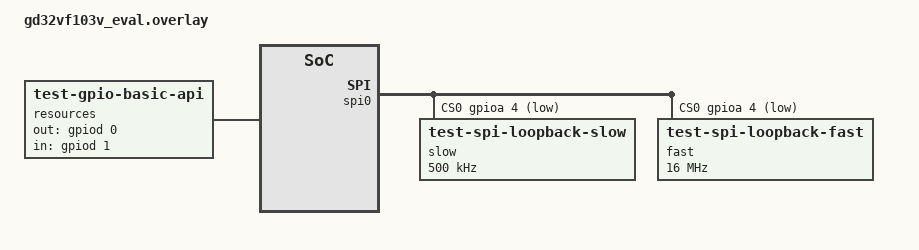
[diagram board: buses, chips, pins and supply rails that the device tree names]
/*
 * Copyright (c) 2022 Tokita, Hiroshi <tokita.hiroshi@gmail.com>
 *
 * SPDX-License-Identifier: Apache-2.0
 */

tst_dma0: &dma0 {
	status = "okay";
};

#include <zephyr/dt-bindings/dma/gd32_dma.h>

&dma0 {
	status = "okay";
};

&pinctrl {
	spi0_default: spi0_default {
		group1 {
			pinmux = <SPI0_MISO_PA6_INP_NORMP>, <SPI0_SCK_PA5_OUT_NORMP>,
				 <SPI0_MOSI_PA7_OUT_NORMP>, <SPI0_NSS_PA4_OUT_NORMP>;
		};
	};
};

&spi0 {
	status = "okay";
	pinctrl-0 = <&spi0_default>;
	pinctrl-names = "default";
	cs-gpios = <&gpioa 4 GPIO_ACTIVE_LOW>;
	dmas = <&dma0 1 0>, <&dma0 2 0>;
	dma-names = "rx", "tx";
	slow@0 {
		compatible = "test-spi-loopback-slow";
		reg = <0>;
		spi-max-frequency = <500000>;
	};
	fast@0 {
		compatible = "test-spi-loopback-fast";
		reg = <0>;
		spi-max-frequency = <16000000>;
	};
};

/ {
	resources {
		compatible = "test-gpio-basic-api";
		out-gpios = <&gpiod 0 0>;
		in-gpios = <&gpiod 1 0>;
	};
};

&gpiod {
	status = "okay";
};
